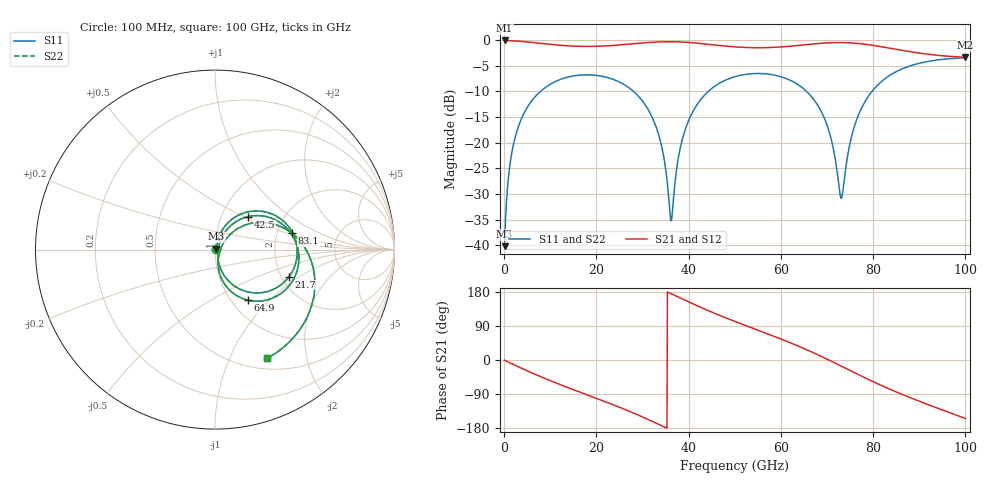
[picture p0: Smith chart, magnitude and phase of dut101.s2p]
! Touchstone file exported from HFSS 2026.1.0
!  File:  C:/ffzhzh/LocalFiles/Ansys_Project_Files/temp_train_TSV_RDL_101_1783455628_34316.aedt
!  Generated:  04:28:37 AM Jul  8, 2026
!  Design:  TSV_RDL
!  Project:  temp_train_TSV_RDL_101_1783455628_34316
! Variables:
!  h_bsmrdl = 3.3um
!  h_ox = 20um
!  h_rdl = 5um
!  h_sub = 52.04um
!  h_tmrdl = 4.52um
!  h_tsv = 52.04um
!  h_via = 3um
!  l_bsmrdl = 192.87um
!  l_sub = 1830.23um
!  l_tmrdl = 177.7um
!  m_sub = 200um
!  pitch = 44.42um
!  r_tsv = 5.15um
!  s_tmrdl = 10um
!  w_bsmrdl = 17.01um
!  w_sub = 500um
!  w_tmrdl = 29.93um
!  x_tsv_center1 = 192.665um
!  x_tsv_center2 = 402.545um
!  x_tsv_center3 = 610.175um
!  x_tsv_center4 = 820.055um
!  x_tsv_center5 = 1027.685um
!  x_tsv_center6 = 1237.565um
# GHz S MA R 50.000000
! Terminal data exported
! Port[1] = TM_RDL1_1_T1
! Port[2] = TM_RDL5_1_T1
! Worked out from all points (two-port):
!   1000 points, 100 MHz to 100 GHz, reference 50 ohm
!   highest |S21| = -0.07 dB at 100 MHz (marker M1); lowest = -3.3 dB at 100 GHz (marker M2)
!   |S21| within 3 dB of the highest: start of sweep to 95.25 GHz
!   lowest |S11| = -40.2 dB at 100 MHz (marker M3), VSWR 1.02, Z = 50.8 + j0.532 ohm
!   |S11| at or under -10 dB: start of sweep to 7.866 GHz; 28.05 GHz to 44.27 GHz (16.22 GHz wide, 44.9 % of centre); 65.56 GHz to 79.76 GHz (14.2 GHz wide, 19.5 % of centre)
!   |S22| runs from -40.2 to -3.5 dB; largest |S21 - S12| = 1.1e-13
!   S11 on the Smith chart (normalised r, x): 100 MHz: 1.02, +0.01; 21.7 GHz: 2.20, -0.82; 42.5 GHz: 1.33, +0.52; 64.9 GHz: 1.19, -0.76; 83.1 GHz: 2.41, +0.54; 100 GHz: 0.63, -1.39
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0.1  0.00981 32.2  0.9917 -0.6  0.9917 -0.6  0.00981 32.2
! Gamma 0 0 0 0
! Port Impedance 50 0 50 0
1.6  0.07701 72.5  0.9863 -9.4  0.9863 -9.4  0.07701 72.5
4.3  0.1934 60.9  0.9663 -24.7  0.9663 -24.7  0.1934 60.9
10.1  0.3733 32.1  0.9077 -55.0  0.9077 -55.0  0.3733 32.1
16.8  0.4571 1.7  0.8685 -86.4  0.8685 -86.4  0.4571 1.7
21.7  0.4396 -20.0  0.8759 -108.9  0.8759 -108.9  0.4396 -19.9
28.9  0.2907 -53.4  0.929 -144.4  0.929 -144.4  0.2907 -53.4
33.4  0.1237 -72.9  0.9595 -169.1  0.9595 -169.1  0.1237 -72.9
36.2  0.01733 -7.7  0.9641 174.9  0.9641 174.9  0.01741 -7.8
38.7  0.1108 60.5  0.9561 160.7  0.9561 160.7  0.1107 60.4
42.5  0.259 45.1  0.9265 139.7  0.9265 139.7  0.259 45.0
50.1  0.4409 9.6  0.8583 101.5  0.8583 101.5  0.4409 9.6
58  0.461 -25.3  0.8476 65.0  0.8476 65.0  0.461 -25.3
64.9  0.3361 -56.9  0.8971 30.9  0.8971 30.9  0.3361 -56.9
66.7  0.2788 -65.3  0.9136 21.2  0.9136 21.2  0.2788 -65.4
70.4  0.1308 -79.1  0.9402 0.1  0.9402 0.1  0.1307 -79.4
73.1  0.02867 -15.3  0.9455 -16.1  0.9455 -16.1  0.02806 -15.3
76.7  0.1805 42.1  0.9269 -37.9  0.9269 -37.9  0.1804 42.3
83.1  0.4375 11.9  0.8417 -74.3  0.8417 -74.3  0.4374 12.0
83.4  0.4469 10.4  0.8371 -75.9  0.8371 -75.9  0.4468 10.5
91.1  0.6097 -25.6  0.7359 -114.0  0.7359 -114.0  0.6096 -25.6
100  0.6715 -64.6  0.6811 -154.3  0.6811 -154.3  0.6714 -64.6
